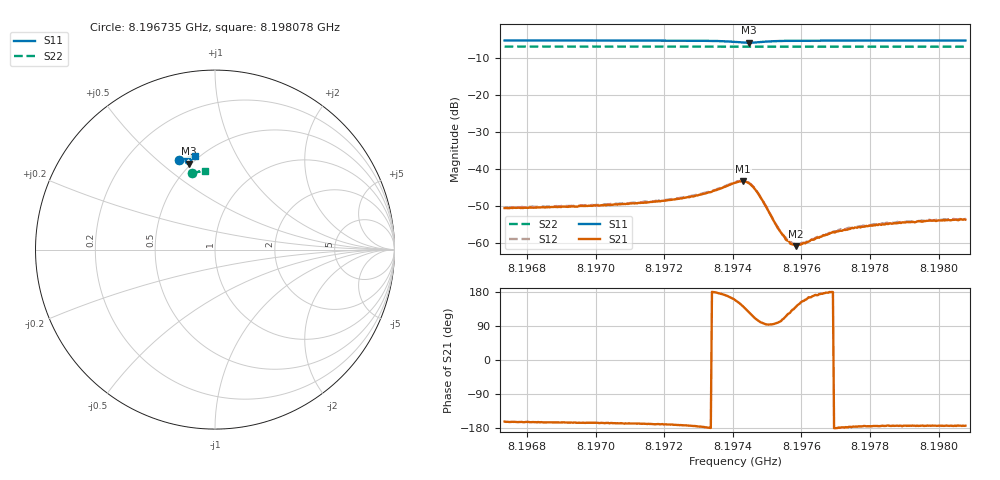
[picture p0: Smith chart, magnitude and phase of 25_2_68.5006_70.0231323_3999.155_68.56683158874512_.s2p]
#  HZ  S  RI  R  50.00
! Rohde & Schwarz Vector Network Analyzer
! Rohde-Schwarz,ZNB20-2Port,1311601062101988,3.16
! Created: UTC 3/20/2024, 4:49:41 PM
! freq[Hz]  re:S11  im:S11  re:S21  im:S21  re:S12  im:S12  re:S22  im:S22
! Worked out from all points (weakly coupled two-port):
!   401 points, 8.196735 GHz to 8.198078 GHz, reference 50 ohm
!   highest |S21| = -43.28 dB at 8.19743 GHz (marker M1); lowest = -60.7 dB at 8.197585 GHz (marker M2)
!   lowest |S11| = -6.0 dB at 8.197447 GHz (marker M3), VSWR 2.99, Z = 24.4 + j31.1 ohm
!   |S11| at or under -10 dB: nowhere
!   |S22| runs from -7.1 to -7.0 dB; largest |S21 - S12| = 0.00037
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8.1967348e9  -0.1982 0.4985  -0.00285 -0.000903  -0.00295 -0.000775  -0.1292 0.4252
8.1969599e9  -0.182 0.5042  -0.0031 -0.000786  -0.00319 -0.000655  -0.1169 0.4285
8.1971849e9  -0.1636 0.5091  -0.00365 -0.000696  -0.00375 -0.000513  -0.1045 0.4311
8.1972924e9  -0.1516 0.5101  -0.00438 -0.000416  -0.0045 -0.00023  -0.0985 0.4324
8.1973461e9  -0.1432 0.5082  -0.00515 8.44e-05  -0.0052 0.000301  -0.0954 0.4328
8.1974066e9  -0.1326 0.4955  -0.00606 0.00241  -0.0061 0.00277  -0.0919 0.4332
8.1974301e9  -0.1351 0.484  -0.00536 0.00428  -0.00521 0.0046  -0.0908 0.433
8.1974469e9  -0.1435 0.4781  -0.0038 0.00523  -0.00362 0.00552  -0.0902 0.433
8.1974637e9  -0.1539 0.4789  -0.00197 0.00508  -0.00174 0.00526  -0.0896 0.4333
8.1974771e9  -0.1596 0.4835  -0.000926 0.00435  -0.000769 0.00444  -0.0889 0.4336
8.1975275e9  -0.1613 0.5007  -0.000226 0.00173  -0.000162 0.00174  -0.0861 0.4345
8.1975443e9  -0.1595 0.504  -0.000381 0.00127  -0.000309 0.00128  -0.0851 0.4348
8.1975644e9  -0.1569 0.5069  -0.000579 0.000888  -0.000535 0.000892  -0.0841 0.435
8.1975745e9  -0.1556 0.508  -0.000659 0.00071  -0.000636 0.000738  -0.0835 0.4351
8.1975846e9  -0.1545 0.5091  -0.000709 0.000585  -0.000714 0.000647  -0.083 0.4352
8.1976316e9  -0.1491 0.5124  -0.00109 0.000228  -0.00111 0.000267  -0.0802 0.4356
8.1976854e9  -0.1439 0.5148  -0.00138 2.2e-05  -0.00138 7.38e-05  -0.0773 0.436
8.1977156e9  -0.1411 0.5159  -0.00148 -5.33e-05  -0.00156 7.94e-06  -0.0756 0.4363
8.1977626e9  -0.1371 0.5172  -0.00162 -0.000116  -0.00168 -6.2e-05  -0.0729 0.4368
8.1978567e9  -0.1293 0.5196  -0.00184 -0.000206  -0.00186 -0.000129  -0.0674 0.4374
8.1979709e9  -0.1206 0.5217  -0.00201 -0.000229  -0.00207 -0.000164  -0.061 0.4382
8.1980784e9  -0.1125 0.5234  -0.00208 -0.000241  -0.00212 -0.000165  -0.0551 0.4388
